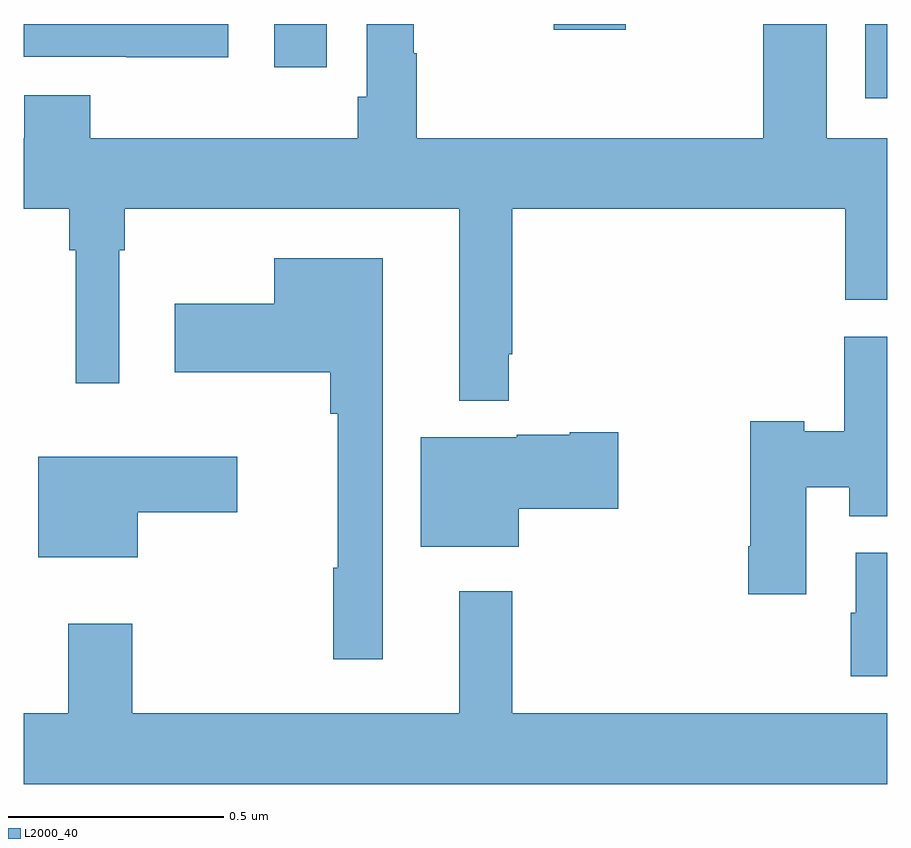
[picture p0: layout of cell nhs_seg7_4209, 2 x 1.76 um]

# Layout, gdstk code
import gdstk
lib = gdstk.Library(unit=1e-6, precision=1e-09)
def R(c, l, rs):  # rectangles x0, y0, x1, y1
    for r in rs: c.add(gdstk.rectangle(r[:2], r[2:], *l))
def P(c, l, *ps):  # polygons
    for p in ps: c.add(gdstk.Polygon(p, *l))
L2000_40 = (2000, 40)

nhs_seg7_4209 = lib.new_cell('nhs_seg7_4209')
R(nhs_seg7_4209, L2000_40, [(170.949,1044.828,171,1045), (169.58,1044.9,169.702,1045), (170.228,1044.987,170.394,1045)])
P(nhs_seg7_4209, L2000_40, [(170.123,1044.235),(170.131,1044.235),(170.131,1044.572),(170.903,1044.572),(170.903,1044.361),(171,1044.361),(171,1044.736),(170.86,1044.736),(170.86,1045),(170.713,1045),(170.713,1044.736),(169.91,1044.736),(169.91,1044.932),(169.903,1044.932),(169.903,1045),(169.794,1045),(169.794,1044.832),(169.774,1044.832),(169.774,1044.736),(169.154,1044.736),(169.154,1044.835),(169.001,1044.835),(169.001,1044.736),(169,1044.736),(169,1044.572),(169.105,1044.572),(169.105,1044.476),(169.12,1044.476),(169.12,1044.168),(169.221,1044.168),(169.221,1044.476),(169.234,1044.476),(169.234,1044.572),(170.009,1044.572),(170.009,1044.128),(170.123,1044.128)],
  [(169.474,1045),(169,1045),(169,1044.924),(169.237,1044.924),(169.237,1044.923),(169.474,1044.923)],
  [(169.831,1044.457),(169.58,1044.457),(169.58,1044.352),(169.35,1044.352),(169.35,1044.194),(169.71,1044.194),(169.71,1044.098),(169.727,1044.098),(169.727,1043.741),(169.717,1043.741),(169.717,1043.529),(169.831,1043.529)],
  [(170.812,1043.927),(170.912,1043.927),(170.912,1043.86),(171,1043.86),(171,1044.276),(170.9,1044.276),(170.9,1044.057),(170.808,1044.057),(170.808,1044.08),(170.683,1044.08),(170.683,1043.791),(170.678,1043.791),(170.678,1043.679),(170.812,1043.679)],
  [(170.146,1043.878),(170.377,1043.878),(170.377,1044.055),(170.264,1044.055),(170.264,1044.049),(170.142,1044.049),(170.142,1044.043),(169.919,1044.043),(169.919,1043.789),(170.146,1043.789)],
  [(169.264,1043.869),(169.495,1043.869),(169.495,1043.998),(169.034,1043.998),(169.034,1043.765),(169.264,1043.765)],
  [(171,1043.775),(170.927,1043.775),(170.927,1043.637),(170.915,1043.637),(170.915,1043.49),(171,1043.49)],
  [(171,1043.404),(170.131,1043.404),(170.131,1043.686),(170.009,1043.686),(170.009,1043.404),(169.251,1043.404),(169.251,1043.611),(169.103,1043.611),(169.103,1043.404),(169,1043.404),(169,1043.24),(171,1043.24)])

lib.write_gds('nhs_seg7_4209.gds')
